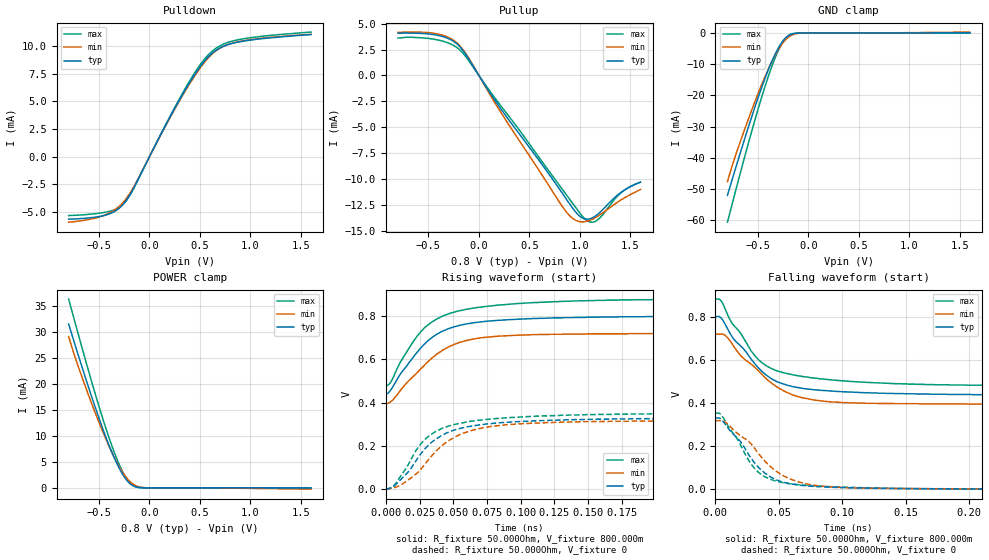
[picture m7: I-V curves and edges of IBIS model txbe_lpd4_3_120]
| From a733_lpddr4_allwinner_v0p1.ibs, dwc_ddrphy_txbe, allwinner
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[Model] txbe_lpd4_3_120
Model_type   I/O
Polarity   Non-Inverting
Enable   Active-High
C_comp   1.517pF   1.511pF   1.521pF
C_comp_pullup   267.973fF   267.453fF   273.210fF
C_comp_pulldown 1.185pF   1.184pF   1.186pF
Vinh = 427.000mV
Vinl = 307.000mV
Vmeas = 367.000mV
Vref = 367.000mV
Rref = 50Ohms
Cref = 0pF
[Model Spec]
Vinh   427.000mV   413.000mV   450.000mV
Vinl   307.000mV   293.000mV   330.000mV
Vmeas   367.000mV   353.000mV   390.000mV
Vref   367.000mV   353.000mV   390.000mV
D_overshoot_ampl_h 0.1 NA   NA
D_overshoot_ampl_l 0.1 NA   NA
D_overshoot_area_l 300.000m NA   NA
D_overshoot_area_h 300.000m NA   NA
[Receiver Thresholds]
Vth = 183.000mV
Vth_min = 177.000mV
Vth_max = 195.000mV
Vinh_ac = 60.000mV
Vinh_dc = 60.000mV
Vinl_ac = -60.000mV
Vinl_dc = -60.000mV
Tslew_ac = 5.000ns
Threshold_sensitivity = 0.5
Reference_supply Pullup_ref
[Temperature Range]   25.000   125.000   -40.000
[Voltage Range]   800.000mV   720.000mV   880.000mV
[GND Clamp Reference]   0.00V   0.00V   0.00V
[C Comp Corner]
| variable   typ   min   max
C_comp 1.517pF   1.521pF   1.511pF
C_comp_pullup 273.210fF   267.453fF   267.973fF
C_comp_pulldown 1.184pF   1.186pF   1.185pF
[Pulldown Reference]   0.00V   0.00V   0.00V
[POWER Clamp Reference]   800.000mV   720.000mV   880.000mV
[Pullup Reference]   800.000mV   720.000mV   880.000mV
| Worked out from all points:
|   slope of the pulldown table from 0 to 0.12 V, typ, clamps not added: 56.1 ohm
|   slope of the pullup table from 0 to 0.12 V, typ, clamps not added: 65.4 ohm
|   GND clamp passes 1 mA (typ) near -0.20 V on its own axis
|   POWER clamp passes 1 mA (typ) near -0.20 V on its own axis
|   rising waveform, R_fixture 50.000Ohm, V_fixture 800.000m: 20-80 % time 32.6ps typ, 34.4ps min, 33.2ps max; typ from 0.437 V to 0.8 V
|   rising waveform, R_fixture 50.000Ohm, V_fixture 0: 20-80 % time 31.7ps typ, 34.1ps min, 29.6ps max; typ from -0.001 V to 0.327 V
|   falling waveform, R_fixture 50.000Ohm, V_fixture 800.000m: 20-80 % time 33.9ps typ, 37.3ps min, 33.6ps max; typ from 0.802 V to 0.437 V
|   falling waveform, R_fixture 50.000Ohm, V_fixture 0: 20-80 % time 28.3ps typ, 34.7ps min, 24.4ps max; typ from 0.331 V to 0 V
[GND Clamp]
-800mV    -51.97mA   -47.59mA   -60.56mA
-750mV    -46.53mA   -42.17mA   -54.31mA
-650mV    -35.96mA   -32.65mA   -42.07mA
-520mV    -22.93mA   -21.28mA   -26.92mA
-430mV    -14.68mA   -14.07mA   -17.28mA
-350mV    -8.284mA   -8.447mA   -9.75mA
-300mV    -4.999mA   -5.486mA   -5.833mA
-250mV    -2.487mA   -3.115mA   -2.813mA
-200mV    -923uA     -1.462mA   -941.9uA
-130mV    -128.7uA   -336.7uA   -89.62uA
-30mV     -2.328uA   -11.39uA   -879.2nA
1.6V      41.38uA    274.9uA    15.53uA
[Power Clamp]
-800mV    31.5mA     29.07mA    36.28mA
-720mV    26.44mA    24.19mA    30.6mA
-620mV    20.34mA    18.7mA     23.64mA
-500mV    13.4mA     12.6mA     15.68mA
-400mV    8.171mA    7.988mA    9.63mA
-320mV    4.573mA    4.782mA    5.426mA
-270mV    2.735mA    3.099mA    3.246mA
-220mV    1.34mA     1.751mA    1.562mA
-180mV    609.8uA    962.5uA    671.8uA
-130mV    163.3uA    360.3uA    148.8uA
-30mV     3.458uA    13.99uA    1.941uA
1.6V      -31.74uA   -255.1uA   -8.592uA
[Pulldown]
-800mV    -5.63mA    -5.91mA    -5.31mA
-450mV    -5.31mA    -5.3mA     -5.03mA
-350mV    -4.969mA   -4.838mA   -4.805mA
-250mV    -4.191mA   -4.007mA   -4.182mA
-160mV    -2.895mA   -2.79mA    -2.939mA
160mV     2.835mA    2.787mA    2.882mA
390mV     6.578mA    6.467mA    6.709mA
530mV     8.466mA    8.348mA    8.639mA
660mV     9.614mA    9.566mA    9.8mA
780mV     10.13mA    10.13mA    10.33mA
930mV     10.43mA    10.47mA    10.64mA
1.6V      11.03mA    11.05mA    11.25mA
[Pullup]
-800mV    4.08mA     4.15mA     3.6mA
-400mV    3.848mA    3.983mA    3.411mA
-200mV    2.889mA    2.979mA    2.556mA
-100mV    1.578mA    1.676mA    1.416mA
220mV     -3.263mA   -3.598mA   -2.961mA
800mV     -10.98mA   -12.26mA   -10.63mA
930mV     -12.82mA   -13.8mA    -12.36mA
1.03V     -13.77mA   -14.12mA   -13.63mA
1.13V     -13.7mA    -13.84mA   -14.15mA
1.2V      -13.19mA   -13.43mA   -13.72mA
1.42V     -11.19mA   -11.93mA   -11.22mA
1.6V      -10.29mA   -10.99mA   -10.29mA
[Ramp]
R_load=50.000Ohm
dV/dt_r   207.257mV/33.500ps  192.591mV/35.000ps  224.984mV/32.000ps
dV/dt_f   207.255mV/32.500ps  192.591mV/37.000ps  224.987mV/30.000ps
[Rising waveform]
R_fixture=50.000Ohm
V_fixture=800.000m
V_fixture_min=720.000m
V_fixture_max=880.000m
0s        437mV      394mV      478mV
3ps       453mV      401mV      489mV
11ps      534mV      458mV      590mV
26ps      654mV      557mV      729mV
38ps      717mV      625mV      787mV
53ps      754mV      674mV      823mV
72ps      774mV      701mV      843mV
102ps     787mV      713mV      860mV
173ps     797mV      718mV      875mV
277ps     800mV      719mV      879mV
[Rising waveform]
R_fixture=50.000Ohm
V_fixture=0
0s        -1.101mV   541uV      -1.303mV
7ps       18.49mV    7.306mV    22.88mV
15ps      68.35mV    34.41mV    95.54mV
21ps      118mV      61.75mV    164mV
30ps      192mV      123mV      235mV
41ps      246mV      197mV      278mV
54ps      278mV      249mV      303mV
72ps      298mV      283mV      320mV
107ps     314mV      304mV      335mV
277ps     327mV      316mV      350mV
[Falling waveform]
R_fixture=50.000Ohm
V_fixture=800.000m
V_fixture_min=720.000m
V_fixture_max=880.000m
0s        802mV      720mV      883mV
4ps       798mV      720mV      878mV
8ps       763mV      713mV      833mV
13ps      710mV      677mV      772mV
20ps      665mV      620mV      723mV
33ps      569mV      555mV      607mV
54ps      488mV      456mV      540mV
68ps      469mV      425mV      524mV
101ps     452mV      402mV      503mV
280ps     437mV      395mV      481mV
[Falling waveform]
R_fixture=50.000Ohm
V_fixture=0
0s        331mV      318mV      353mV
5ps       322mV      318mV      343mV
19ps      227mV      251mV      215mV
26ps      163mV      223mV      136mV
32ps      115mV      181mV      89.44mV
41ps      65.87mV    118mV      52.25mV
51ps      36.92mV    71.29mV    32.83mV
72ps      15.17mV    24.45mV    18mV
98ps      7.728mV    8.056mV    10.06mV
280ps     248.2uV    1.111mV    158uV
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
